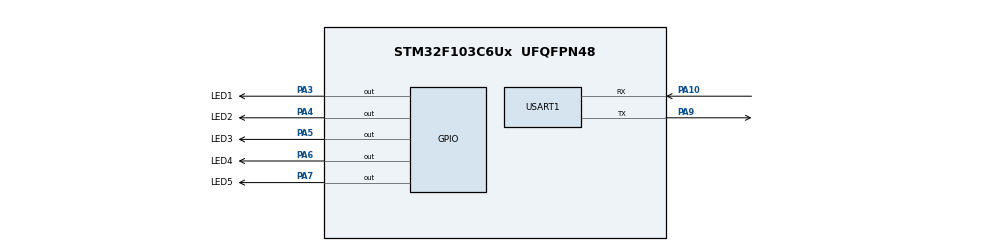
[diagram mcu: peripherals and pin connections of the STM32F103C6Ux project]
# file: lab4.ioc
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Mcu.Family=STM32F1
Mcu.Name=STM32F103C6Ux
Mcu.Package=UFQFPN48
NVIC.PriorityGroup=NVIC_PRIORITYGROUP_4
NVIC.TIM2_IRQn=true\:0\:0\:false\:false\:true\:true\:true
NVIC.USART1_IRQn=true\:0\:0\:false\:false\:true\:true\:true
PA10.Mode=Asynchronous
PA10.Signal=USART1_RX
PA3.GPIO_Label=LED1
PA3.Signal=GPIO_Output
PA4.GPIO_Label=LED2
PA4.Signal=GPIO_Output
PA5.GPIO_Label=LED3
PA5.Signal=GPIO_Output
PA6.GPIO_Label=LED4
PA6.Signal=GPIO_Output
PA7.GPIO_Label=LED5
PA7.Signal=GPIO_Output
PA9.Mode=Asynchronous
PA9.Signal=USART1_TX
ProjectManager.HeapSize=0x200
ProjectManager.StackSize=0x400
ProjectManager.TargetToolchain=STM32CubeIDE
RCC.APB1Freq_Value=8000000
RCC.APB2Freq_Value=8000000
TIM2.Period=9
TIM2.Prescaler=7999
USART1.VirtualMode=VM_ASYNC
VP_SYS_VS_ND.Mode=No_Debug
VP_TIM2_VS_ClockSourceINT.Mode=Internal
board=custom

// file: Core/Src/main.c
/* USER CODE BEGIN Header */
/**
  ******************************************************************************
  * @file           : main.c
  * @brief          : Main program body
  ******************************************************************************
  * @attention
  *
  * <h2><center>&copy; Copyright (c) 2026 STMicroelectronics.
  * All rights reserved.</center></h2>
  *
  * This software component is licensed by ST under BSD 3-Clause license,
  * the "License"; You may not use this file except in compliance with the
  * License. You may obtain a copy of the License at:
  *                        opensource.org/licenses/BSD-3-Clause
  *
  ******************************************************************************
  */
/* USER CODE END Header */
#include "main.h"

/* USER CODE BEGIN Includes */
#include <stdio.h>
#include "uart_printf.h"
#include "Scheduler.h"
/* USER CODE END Includes */

TIM_HandleTypeDef htim2;

UART_HandleTypeDef huart1;

/* USER CODE BEGIN PV */
uint32_t idTask5;
/* USER CODE END PV */

void SystemClock_Config(void);
static void MX_GPIO_Init(void);
static void MX_TIM2_Init(void);
static void MX_USART1_UART_Init(void);
/* USER CODE BEGIN PFP */
void Task_Led1(void);
void Task_Led2(void);
void Task_Led3(void);
void Task_Led4(void);
void Task_Led5(void);
void Task_OneShotA(void);
void Task_OneShotB(void);
void Task_DeleteTask5(void);
/* USER CODE END PFP */

int main(void)
{

  /* MCU Configuration--------------------------------------------------------*/

  /* Reset of all peripherals, Initializes the Flash interface and the Systick. */
  HAL_Init();

  /* Configure the system clock */
  SystemClock_Config();

  /* Initialize all configured peripherals */
  MX_GPIO_Init();
  MX_TIM2_Init();
  MX_USART1_UART_Init();
  /* USER CODE BEGIN 2 */
  init_uart_printf(&huart1);
    HAL_UART_Transmit(&huart1, (uint8_t *)"1 start\r\n", 9, 100);

    printf("2 printf ok\r\n");
    printf("3 TIM2 PSC=%lu ARR=%lu\r\n",
           (unsigned long)htim2.Instance->PSC, (unsigned long)htim2.Instance->ARR);

    SCH_Init(&htim2);
    printf("4 SCH_Init ok\r\n");

    SCH_Add_Task(Task_Led1,     0, 500);
    SCH_Add_Task(Task_Led2,     10, 1000);
    SCH_Add_Task(Task_Led3,     20, 1500);
    SCH_Add_Task(Task_Led4,     30, 2000);
    idTask5 = SCH_Add_Task(Task_Led5, 40, 2500);
    SCH_Add_Task(Task_OneShotA, 300, 0);
    SCH_Add_Task(Task_OneShotB, 400, 0);
    SCH_Add_Task(Task_DeleteTask5, 12000, 0);
    printf("5 tasks added\r\n");

    HAL_TIM_Base_Start_IT(&htim2);
    printf("6 timer started\r\n");
  /* USER CODE END 2 */

  /* Infinite loop */
  while (1)
  {

    /* USER CODE BEGIN 3 */
	  SCH_Dispatch_Tasks();
  }
  /* USER CODE END 3 */
}

void SystemClock_Config(void)
{
  RCC_OscInitTypeDef RCC_OscInitStruct = {0};
  RCC_ClkInitTypeDef RCC_ClkInitStruct = {0};

  /** Initializes the RCC Oscillators according to the specified parameters
  * in the RCC_OscInitTypeDef structure.
  */
  RCC_OscInitStruct.OscillatorType = RCC_OSCILLATORTYPE_HSI;
  RCC_OscInitStruct.HSIState = RCC_HSI_ON;
  RCC_OscInitStruct.HSICalibrationValue = RCC_HSICALIBRATION_DEFAULT;
  RCC_OscInitStruct.PLL.PLLState = RCC_PLL_NONE;
  if (HAL_RCC_OscConfig(&RCC_OscInitStruct) != HAL_OK)
  {
    Error_Handler();
  }
  /** Initializes the CPU, AHB and APB buses clocks
  */
  RCC_ClkInitStruct.ClockType = RCC_CLOCKTYPE_HCLK|RCC_CLOCKTYPE_SYSCLK
                              |RCC_CLOCKTYPE_PCLK1|RCC_CLOCKTYPE_PCLK2;
  RCC_ClkInitStruct.SYSCLKSource = RCC_SYSCLKSOURCE_HSI;
  RCC_ClkInitStruct.AHBCLKDivider = RCC_SYSCLK_DIV1;
  RCC_ClkInitStruct.APB1CLKDivider = RCC_HCLK_DIV1;
  RCC_ClkInitStruct.APB2CLKDivider = RCC_HCLK_DIV1;

  if (HAL_RCC_ClockConfig(&RCC_ClkInitStruct, FLASH_LATENCY_0) != HAL_OK)
  {
    Error_Handler();
  }
}

static void MX_TIM2_Init(void)
{

  TIM_ClockConfigTypeDef sClockSourceConfig = {0};
  TIM_MasterConfigTypeDef sMasterConfig = {0};

  htim2.Instance = TIM2;
  htim2.Init.Prescaler = 7999;
  htim2.Init.CounterMode = TIM_COUNTERMODE_UP;
  htim2.Init.Period = 9;
  htim2.Init.ClockDivision = TIM_CLOCKDIVISION_DIV1;
  htim2.Init.AutoReloadPreload = TIM_AUTORELOAD_PRELOAD_DISABLE;
  if (HAL_TIM_Base_Init(&htim2) != HAL_OK)
  {
    Error_Handler();
  }
  sClockSourceConfig.ClockSource = TIM_CLOCKSOURCE_INTERNAL;
  if (HAL_TIM_ConfigClockSource(&htim2, &sClockSourceConfig) != HAL_OK)
  {
    Error_Handler();
  }
  sMasterConfig.MasterOutputTrigger = TIM_TRGO_RESET;
  sMasterConfig.MasterSlaveMode = TIM_MASTERSLAVEMODE_DISABLE;
  if (HAL_TIMEx_MasterConfigSynchronization(&htim2, &sMasterConfig) != HAL_OK)
  {
    Error_Handler();
  }

}

static void MX_USART1_UART_Init(void)
{

  huart1.Instance = USART1;
  huart1.Init.BaudRate = 115200;
  huart1.Init.WordLength = UART_WORDLENGTH_8B;
  huart1.Init.StopBits = UART_STOPBITS_1;
  huart1.Init.Parity = UART_PARITY_NONE;
  huart1.Init.Mode = UART_MODE_TX_RX;
  huart1.Init.HwFlowCtl = UART_HWCONTROL_NONE;
  huart1.Init.OverSampling = UART_OVERSAMPLING_16;
  if (HAL_UART_Init(&huart1) != HAL_OK)
  {
    Error_Handler();
  }

}

static void MX_GPIO_Init(void)
{
  GPIO_InitTypeDef GPIO_InitStruct = {0};

  /* GPIO Ports Clock Enable */
  __HAL_RCC_GPIOA_CLK_ENABLE();

  /*Configure GPIO pin Output Level */
  HAL_GPIO_WritePin(GPIOA, LED1_Pin|LED2_Pin|LED3_Pin|LED4_Pin
                          |LED5_Pin, GPIO_PIN_RESET);

  /*Configure GPIO pins : LED1_Pin LED2_Pin LED3_Pin LED4_Pin
                           LED5_Pin */
  GPIO_InitStruct.Pin = LED1_Pin|LED2_Pin|LED3_Pin|LED4_Pin
                          |LED5_Pin;
  GPIO_InitStruct.Mode = GPIO_MODE_OUTPUT_PP;
  GPIO_InitStruct.Pull = GPIO_NOPULL;
  GPIO_InitStruct.Speed = GPIO_SPEED_FREQ_LOW;
  HAL_GPIO_Init(GPIOA, &GPIO_InitStruct);

}

/* USER CODE BEGIN 4 */
void HAL_TIM_PeriodElapsedCallback(TIM_HandleTypeDef *htim)
{
    if (htim->Instance == TIM2) {
        SCH_Update();
    }
}

void Task_Led1(void) { HAL_GPIO_TogglePin(LED1_GPIO_Port, LED1_Pin); printf("[%lu ms] task 1 \r\n", (unsigned long)SCH_Get_Time()); }
void Task_Led2(void) { HAL_GPIO_TogglePin(LED2_GPIO_Port, LED2_Pin); printf("[%lu ms] task 2 \r\n", (unsigned long)SCH_Get_Time()); }
void Task_Led3(void) { HAL_GPIO_TogglePin(LED3_GPIO_Port, LED3_Pin); printf("[%lu ms] task 3 \r\n", (unsigned long)SCH_Get_Time()); }
void Task_Led4(void) { HAL_GPIO_TogglePin(LED4_GPIO_Port, LED4_Pin); printf("[%lu ms] task 4 \r\n", (unsigned long)SCH_Get_Time()); }
void Task_Led5(void) { HAL_GPIO_TogglePin(LED5_GPIO_Port, LED5_Pin); printf("[%lu ms] task 5 \r\n", (unsigned long)SCH_Get_Time()); }
void Task_OneShotA(void) { printf("[%lu ms] one-shot A\r\n", (unsigned long)SCH_Get_Time()); }
void Task_OneShotB(void) { printf("[%lu ms] one-shot B\r\n", (unsigned long)SCH_Get_Time()); }

void Task_DeleteTask5(void)
{
    uint8_t r = SCH_Delete_Task(idTask5);
    printf("[%lu ms] delete task 5 -> %s\r\n", (unsigned long)SCH_Get_Time(), r == 0 ? "OK" : "FAILED");
}
/* USER CODE END 4 */

void Error_Handler(void)
{
  __disable_irq();
  while (1)
  {
  }
}

/************************ (C) COPYRIGHT STMicroelectronics *****END OF FILE****/
